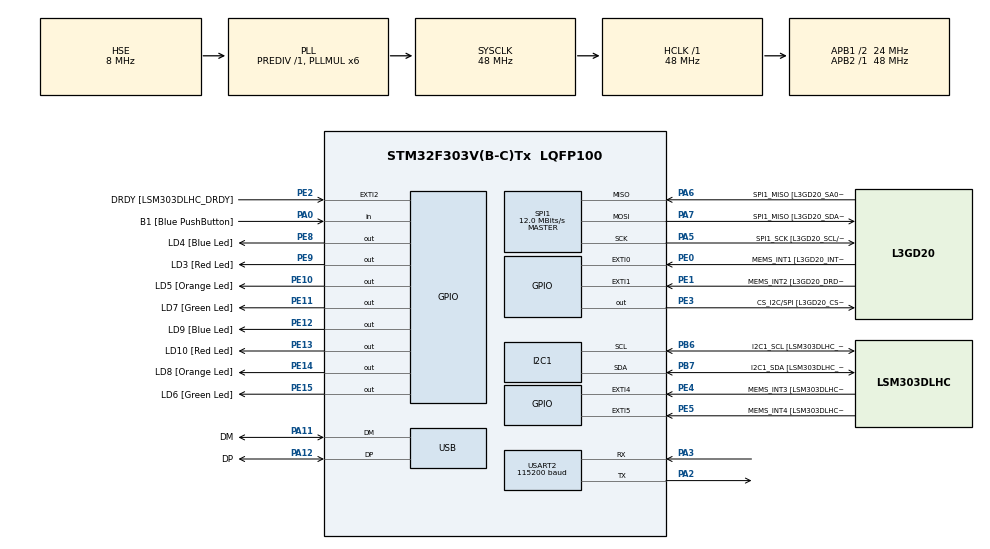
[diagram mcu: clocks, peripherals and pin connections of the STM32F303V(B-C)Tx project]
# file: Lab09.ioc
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I2C1.Timing=0x00201D2B
I2C1.Timing-I2C=0x2000090E
Mcu.Family=STM32F3
Mcu.Name=STM32F303V(B-C)Tx
Mcu.Package=LQFP100
NVIC.PriorityGroup=NVIC_PRIORITYGROUP_0
PA0.GPIO_Label=B1 [Blue PushButton]
PA0.Signal=GPIO_Input
PA11.GPIO_Label=DM
PA11.Mode=Device
PA11.Signal=USB_DM
PA12.GPIO_Label=DP
PA12.Mode=Device
PA12.Signal=USB_DP
PA13.GPIO_Label=SWDIO
PA13.Mode=Serial_Wire
PA13.Signal=SYS_JTMS-SWDIO
PA14.GPIO_Label=SWCLK
PA14.Mode=Serial_Wire
PA14.Signal=SYS_JTCK-SWCLK
PA2.Mode=Asynchronous
PA2.Signal=USART2_TX
PA3.Mode=Asynchronous
PA3.Signal=USART2_RX
PA5.GPIO_Label=SPI1_SCK [L3GD20_SCL/SPC]
PA5.Mode=Full_Duplex_Master
PA5.Signal=SPI1_SCK
PA6.GPIO_Label=SPI1_MISO [L3GD20_SA0/SDO]
PA6.Mode=Full_Duplex_Master
PA6.Signal=SPI1_MISO
PA7.GPIO_Label=SPI1_MISO [L3GD20_SDA/SDI/SDO]
PA7.Mode=Full_Duplex_Master
PA7.Signal=SPI1_MOSI
PB3.GPIO_Label=SWO
PB3.Signal=SYS_JTDO-TRACESWO
PB6.GPIO_Label=I2C1_SCL [LSM303DLHC_SCL]
PB6.GPIO_Pu=GPIO_PULLUP
PB6.Mode=I2C
PB6.Signal=I2C1_SCL
PB7.GPIO_Label=I2C1_SDA [LSM303DLHC_SDA]
PB7.GPIO_Pu=GPIO_PULLUP
PB7.Mode=I2C
PB7.Signal=I2C1_SDA
PC14-OSC32_IN.GPIO_Label=OSC32_IN
PC14-OSC32_IN.Signal=RCC_OSC32_IN
PC15-OSC32_OUT.GPIO_Label=OSC32_OUT
PC15-OSC32_OUT.Signal=RCC_OSC32_OUT
PE0.GPIO_Label=MEMS_INT1 [L3GD20_INT1]
PE0.GPIO_ModeDefaultEXTI=GPIO_MODE_EVT_RISING
PE0.Signal=GPXTI0
PE1.GPIO_Label=MEMS_INT2 [L3GD20_DRDY/INT2]
PE1.GPIO_ModeDefaultEXTI=GPIO_MODE_EVT_RISING
PE1.Signal=GPXTI1
PE10.GPIO_Label=LD5 [Orange Led]
PE10.Signal=GPIO_Output
PE11.GPIO_Label=LD7 [Green Led]
PE11.Signal=GPIO_Output
PE12.GPIO_Label=LD9 [Blue Led]
PE12.Signal=GPIO_Output
PE13.GPIO_Label=LD10 [Red Led]
PE13.Signal=GPIO_Output
PE14.GPIO_Label=LD8 [Orange Led]
PE14.Signal=GPIO_Output
PE15.GPIO_Label=LD6 [Green Led]
PE15.Signal=GPIO_Output
PE2.GPIO_Label=DRDY [LSM303DLHC_DRDY]
PE2.GPIO_ModeDefaultEXTI=GPIO_MODE_EVT_RISING
PE2.Signal=GPXTI2
PE3.GPIO_Label=CS_I2C/SPI [L3GD20_CS_I2C/SPI]
PE3.Signal=GPIO_Output
PE4.GPIO_Label=MEMS_INT3 [LSM303DLHC_INT1]
PE4.GPIO_ModeDefaultEXTI=GPIO_MODE_EVT_RISING
PE4.Signal=GPXTI4
PE5.GPIO_Label=MEMS_INT4 [LSM303DLHC_INT2]
PE5.GPIO_ModeDefaultEXTI=GPIO_MODE_EVT_RISING
PE5.Signal=GPXTI5
PE8.GPIO_Label=LD4 [Blue Led]
PE8.Signal=GPIO_Output
PE9.GPIO_Label=LD3 [Red Led]
PE9.Signal=GPIO_Output
PF0-OSC_IN.GPIO_Label=OSC_IN
PF0-OSC_IN.Mode=HSE-External-Clock-Source
PF0-OSC_IN.Signal=RCC_OSC_IN
PF1-OSC_OUT.GPIO_Label=OSC_OUT
PF1-OSC_OUT.Signal=RCC_OSC_OUT
ProjectManager.HeapSize=0x200
ProjectManager.StackSize=0x400
ProjectManager.TargetToolchain=CMake
RCC.AHBFreq_Value=48000000
RCC.APB1CLKDivider=RCC_HCLK_DIV2
RCC.APB1Freq_Value=24000000
RCC.APB1TimFreq_Value=48000000
RCC.APB2Freq_Value=48000000
RCC.APB2TimFreq_Value=48000000
RCC.CortexFreq_Value=48000000
RCC.HCLKFreq_Value=48000000
RCC.HSE_VALUE=8000000
RCC.HSI_VALUE=8000000
RCC.LSE_VALUE=32768
RCC.PLLMUL=RCC_PLL_MUL6
RCC.SYSCLKFreq_VALUE=48000000
RCC.SYSCLKSourceVirtual=RCC_SYSCLKSOURCE_PLLCLK
RCC.USBFreq_Value=48000000
SPI1.BaudRatePrescaler=SPI_BAUDRATEPRESCALER_4
SPI1.BaudRatePrescaler-Full_Duplex_Master=SPI_BAUDRATEPRESCALER_2
SPI1.CalculateBaudRate=12.0 MBits/s
SPI1.CalculateBaudRate-Full_Duplex_Master=24.0 MBits/s
SPI1.Direction=SPI_DIRECTION_2LINES
SPI1.Mode=SPI_MODE_MASTER
SPI1.Mode-Full_Duplex_Master=SPI_MODE_MASTER
SPI1.VirtualType=VM_MASTER
USART2.BaudRate=115200
USART2.VirtualMode-Asynchronous=VM_ASYNC
board=STM32F3DISCOVERY

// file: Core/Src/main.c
/* USER CODE BEGIN Header */
/**
  ******************************************************************************
  * @file           : main.c
  * @brief          : Main program body
  ******************************************************************************
  * @attention
  *
  * Copyright (c) 2026 STMicroelectronics.
  * All rights reserved.
  *
  * This software is licensed under terms that can be found in the LICENSE file
  * in the root directory of this software component.
  * If no LICENSE file comes with this software, it is provided AS-IS.
  *
  ******************************************************************************
  */
/* USER CODE END Header */
#include "main.h"
#include "stdio.h"
#include "string.h"

// Task 2
typedef struct {
    int16_t acc_raw_x, acc_raw_y, acc_raw_z;
    float acc_mg_x, acc_mg_y, acc_mg_z;
    float acc_offset_x, acc_offset_y, acc_offset_z;
} LSM303_Data;

#define LSM_ADDR 0x33
#define CTRL_REG1_A 0x20
#define CTRL_REG4_A 0x23
#define OUT_X_L_A 0x28

I2C_HandleTypeDef hi2c1;

SPI_HandleTypeDef hspi1;

UART_HandleTypeDef huart2;

PCD_HandleTypeDef hpcd_USB_FS;

void SystemClock_Config(void);
static void MX_GPIO_Init(void);
static void MX_I2C1_Init(void);
static void MX_SPI1_Init(void);
static void MX_USART2_UART_Init(void);
static void MX_USB_PCD_Init(void);

// Task 2
void Init_LSM(void);
void Read_LSM(LSM303_Data *data);
void Offset_LSM(LSM303_Data *data);
void Print_LSM(LSM303_Data *data);

/* USER CODE BEGIN 0 */

// Task 2
void Init_LSM(void) {
    uint8_t settings[2];
    settings[0] = 0x67;
    HAL_I2C_Mem_Write(&hi2c1, LSM_ADDR, CTRL_REG1_A, I2C_MEMADD_SIZE_8BIT, &settings[0], 1, 100);
    settings[0] = 0x00;
    HAL_I2C_Mem_Write(&hi2c1, LSM_ADDR, CTRL_REG4_A, I2C_MEMADD_SIZE_8BIT, &settings[0], 1, 100);
}

void Read_LSM(LSM303_Data *data) {
    uint8_t buffer[6];
    if(HAL_I2C_Mem_Read(&hi2c1, LSM_ADDR, (OUT_X_L_A | 0x80), I2C_MEMADD_SIZE_8BIT, buffer, 6, 100) == HAL_OK) {
        data->acc_raw_x = (int16_t)((buffer[1] << 8) | buffer[0]);
        data->acc_raw_y = (int16_t)((buffer[3] << 8) | buffer[2]);
        data->acc_raw_z = (int16_t)((buffer[5] << 8) | buffer[4]);
        data->acc_mg_x = (data->acc_raw_x * 3.9) - data->acc_offset_x;
        data->acc_mg_y = (data->acc_raw_y * 3.9) - data->acc_offset_y;
        data->acc_mg_z = (data->acc_raw_z * 3.9) - data->acc_offset_z;
    }
}

void Offset_LSM(LSM303_Data *data) {
    float sumX = 0, sumY = 0, sumZ = 0;
    int samples = 20;

    for(int i = 0; i < samples; i++) {
        Read_LSM(data);
        sumX += (data->acc_raw_x * 3.9);
        sumY += (data->acc_raw_y * 3.9);
        sumZ += (data->acc_raw_z * 3.9);
        HAL_Delay(20);
    }

    data->acc_offset_x = sumX / samples;
    data->acc_offset_y = sumY / samples;
    data->acc_offset_z = (sumZ / samples) - 1000.0;
}

void Print_LSM(LSM303_Data *data) {
    char msg[100];
    sprintf(msg, "%.2f, %.2f, %.2f\r\n", data->acc_mg_x, data->acc_mg_y, data->acc_mg_z);
    HAL_UART_Transmit(&huart2, (uint8_t*)msg, strlen(msg), 100);
}
/* USER CODE END 0 */

int main(void)
{

  /* MCU Configuration--------------------------------------------------------*/

  /* Reset of all peripherals, Initializes the Flash interface and the Systick. */
  HAL_Init();

  /* Configure the system clock */
  SystemClock_Config();

  /* Initialize all configured peripherals */
  MX_GPIO_Init();
  MX_I2C1_Init();
  MX_SPI1_Init();
  MX_USART2_UART_Init();
  MX_USB_PCD_Init();

  /* Infinite loop */
  /* USER CODE BEGIN WHILE */

  // Task 1
  // uint8_t who_am_i = 0;
  // char msg[50];
  // HAL_StatusTypeDef ret;
  // ret = HAL_I2C_Mem_Read(&hi2c1, (0x33), 0x0F, I2C_MEMADD_SIZE_8BIT, &who_am_i, 1, 100);

  // Task 2
  HAL_Init();
  SystemClock_Config();
  MX_GPIO_Init();
  MX_I2C1_Init();
  MX_USART2_UART_Init();
  LSM303_Data myLSM = {0};

  HAL_GPIO_WritePin(GPIOE, CS_I2C_SPI_Pin, GPIO_PIN_SET);
  HAL_Delay(100);

  Init_LSM();
  Offset_LSM(&myLSM);
  while (1)
  {
    /* USER CODE END WHILE */

    // Task 1
    // if (ret == HAL_OK) {
    //   sprintf(msg, "LSM303AGR WHO_AM_I: 0x%02X\r\n", who_am_i);
    //   HAL_UART_Transmit(&huart2, (uint8_t*)msg, strlen(msg), 100);

    //   if (who_am_i == 0x33) {
    //       HAL_UART_Transmit(&huart2, (uint8_t*)"LSM303AGR Detected Successfully!\r\n", 34, 100);
    //   } else {
    //       HAL_UART_Transmit(&huart2, (uint8_t*)"Unexpected ID Received.\r\n", 25, 100);
    //   }
    // } else {
    //   HAL_UART_Transmit(&huart2, (uint8_t*)"I2C Read Error!\r\n", 17, 100);
    // }

    // Task 2
    Read_LSM(&myLSM);
    Print_LSM(&myLSM);
    HAL_Delay(100);
  }
}

void SystemClock_Config(void)
{
  RCC_OscInitTypeDef RCC_OscInitStruct = {0};
  RCC_ClkInitTypeDef RCC_ClkInitStruct = {0};
  RCC_PeriphCLKInitTypeDef PeriphClkInit = {0};

  /** Initializes the RCC Oscillators according to the specified parameters
  * in the RCC_OscInitTypeDef structure.
  */
  RCC_OscInitStruct.OscillatorType = RCC_OSCILLATORTYPE_HSI|RCC_OSCILLATORTYPE_HSE;
  RCC_OscInitStruct.HSEState = RCC_HSE_BYPASS;
  RCC_OscInitStruct.HSEPredivValue = RCC_HSE_PREDIV_DIV1;
  RCC_OscInitStruct.HSIState = RCC_HSI_ON;
  RCC_OscInitStruct.HSICalibrationValue = RCC_HSICALIBRATION_DEFAULT;
  RCC_OscInitStruct.PLL.PLLState = RCC_PLL_ON;
  RCC_OscInitStruct.PLL.PLLSource = RCC_PLLSOURCE_HSE;
  RCC_OscInitStruct.PLL.PLLMUL = RCC_PLL_MUL6;
  if (HAL_RCC_OscConfig(&RCC_OscInitStruct) != HAL_OK)
  {
    Error_Handler();
  }

  /** Initializes the CPU, AHB and APB buses clocks
  */
  RCC_ClkInitStruct.ClockType = RCC_CLOCKTYPE_HCLK|RCC_CLOCKTYPE_SYSCLK
                              |RCC_CLOCKTYPE_PCLK1|RCC_CLOCKTYPE_PCLK2;
  RCC_ClkInitStruct.SYSCLKSource = RCC_SYSCLKSOURCE_PLLCLK;
  RCC_ClkInitStruct.AHBCLKDivider = RCC_SYSCLK_DIV1;
  RCC_ClkInitStruct.APB1CLKDivider = RCC_HCLK_DIV2;
  RCC_ClkInitStruct.APB2CLKDivider = RCC_HCLK_DIV1;

  if (HAL_RCC_ClockConfig(&RCC_ClkInitStruct, FLASH_LATENCY_1) != HAL_OK)
  {
    Error_Handler();
  }
  PeriphClkInit.PeriphClockSelection = RCC_PERIPHCLK_USB|RCC_PERIPHCLK_USART2
                              |RCC_PERIPHCLK_I2C1;
  PeriphClkInit.Usart2ClockSelection = RCC_USART2CLKSOURCE_PCLK1;
  PeriphClkInit.I2c1ClockSelection = RCC_I2C1CLKSOURCE_HSI;
  PeriphClkInit.USBClockSelection = RCC_USBCLKSOURCE_PLL;
  if (HAL_RCCEx_PeriphCLKConfig(&PeriphClkInit) != HAL_OK)
  {
    Error_Handler();
  }
}

static void MX_I2C1_Init(void)
{

  hi2c1.Instance = I2C1;
  hi2c1.Init.Timing = 0x00201D2B;
  hi2c1.Init.OwnAddress1 = 0;
  hi2c1.Init.AddressingMode = I2C_ADDRESSINGMODE_7BIT;
  hi2c1.Init.DualAddressMode = I2C_DUALADDRESS_DISABLE;
  hi2c1.Init.OwnAddress2 = 0;
  hi2c1.Init.OwnAddress2Masks = I2C_OA2_NOMASK;
  hi2c1.Init.GeneralCallMode = I2C_GENERALCALL_DISABLE;
  hi2c1.Init.NoStretchMode = I2C_NOSTRETCH_DISABLE;
  if (HAL_I2C_Init(&hi2c1) != HAL_OK)
  {
    Error_Handler();
  }

  /** Configure Analogue filter
  */
  if (HAL_I2CEx_ConfigAnalogFilter(&hi2c1, I2C_ANALOGFILTER_ENABLE) != HAL_OK)
  {
    Error_Handler();
  }

  /** Configure Digital filter
  */
  if (HAL_I2CEx_ConfigDigitalFilter(&hi2c1, 0) != HAL_OK)
  {
    Error_Handler();
  }

}

static void MX_SPI1_Init(void)
{

  /* SPI1 parameter configuration*/
  hspi1.Instance = SPI1;
  hspi1.Init.Mode = SPI_MODE_MASTER;
  hspi1.Init.Direction = SPI_DIRECTION_2LINES;
  hspi1.Init.DataSize = SPI_DATASIZE_4BIT;
  hspi1.Init.CLKPolarity = SPI_POLARITY_LOW;
  hspi1.Init.CLKPhase = SPI_PHASE_1EDGE;
  hspi1.Init.NSS = SPI_NSS_SOFT;
  hspi1.Init.BaudRatePrescaler = SPI_BAUDRATEPRESCALER_4;
  hspi1.Init.FirstBit = SPI_FIRSTBIT_MSB;
  hspi1.Init.TIMode = SPI_TIMODE_DISABLE;
  hspi1.Init.CRCCalculation = SPI_CRCCALCULATION_DISABLE;
  hspi1.Init.CRCPolynomial = 7;
  hspi1.Init.CRCLength = SPI_CRC_LENGTH_DATASIZE;
  hspi1.Init.NSSPMode = SPI_NSS_PULSE_ENABLE;
  if (HAL_SPI_Init(&hspi1) != HAL_OK)
  {
    Error_Handler();
  }

}

static void MX_USART2_UART_Init(void)
{

  huart2.Instance = USART2;
  huart2.Init.BaudRate = 115200;
  huart2.Init.WordLength = UART_WORDLENGTH_8B;
  huart2.Init.StopBits = UART_STOPBITS_1;
  huart2.Init.Parity = UART_PARITY_NONE;
  huart2.Init.Mode = UART_MODE_TX_RX;
  huart2.Init.HwFlowCtl = UART_HWCONTROL_NONE;
  huart2.Init.OverSampling = UART_OVERSAMPLING_16;
  huart2.Init.OneBitSampling = UART_ONE_BIT_SAMPLE_DISABLE;
  huart2.AdvancedInit.AdvFeatureInit = UART_ADVFEATURE_NO_INIT;
  if (HAL_UART_Init(&huart2) != HAL_OK)
  {
    Error_Handler();
  }

}

static void MX_USB_PCD_Init(void)
{

  hpcd_USB_FS.Instance = USB;
  hpcd_USB_FS.Init.dev_endpoints = 8;
  hpcd_USB_FS.Init.speed = PCD_SPEED_FULL;
  hpcd_USB_FS.Init.phy_itface = PCD_PHY_EMBEDDED;
  hpcd_USB_FS.Init.low_power_enable = DISABLE;
  hpcd_USB_FS.Init.battery_charging_enable = DISABLE;
  if (HAL_PCD_Init(&hpcd_USB_FS) != HAL_OK)
  {
    Error_Handler();
  }

}

static void MX_GPIO_Init(void)
{
  GPIO_InitTypeDef GPIO_InitStruct = {0};

  /* GPIO Ports Clock Enable */
  __HAL_RCC_GPIOE_CLK_ENABLE();
  __HAL_RCC_GPIOC_CLK_ENABLE();
  __HAL_RCC_GPIOF_CLK_ENABLE();
  __HAL_RCC_GPIOA_CLK_ENABLE();
  __HAL_RCC_GPIOB_CLK_ENABLE();

  /*Configure GPIO pin Output Level */
  HAL_GPIO_WritePin(GPIOE, CS_I2C_SPI_Pin|LD4_Pin|LD3_Pin|LD5_Pin
                          |LD7_Pin|LD9_Pin|LD10_Pin|LD8_Pin
                          |LD6_Pin, GPIO_PIN_RESET);

  /*Configure GPIO pins : DRDY_Pin MEMS_INT3_Pin MEMS_INT4_Pin MEMS_INT1_Pin
                           MEMS_INT2_Pin */
  GPIO_InitStruct.Pin = DRDY_Pin|MEMS_INT3_Pin|MEMS_INT4_Pin|MEMS_INT1_Pin
                          |MEMS_INT2_Pin;
  GPIO_InitStruct.Mode = GPIO_MODE_EVT_RISING;
  GPIO_InitStruct.Pull = GPIO_NOPULL;
  HAL_GPIO_Init(GPIOE, &GPIO_InitStruct);

  /*Configure GPIO pins : CS_I2C_SPI_Pin LD4_Pin LD3_Pin LD5_Pin
                           LD7_Pin LD9_Pin LD10_Pin LD8_Pin
                           LD6_Pin */
  GPIO_InitStruct.Pin = CS_I2C_SPI_Pin|LD4_Pin|LD3_Pin|LD5_Pin
                          |LD7_Pin|LD9_Pin|LD10_Pin|LD8_Pin
                          |LD6_Pin;
  GPIO_InitStruct.Mode = GPIO_MODE_OUTPUT_PP;
  GPIO_InitStruct.Pull = GPIO_NOPULL;
  GPIO_InitStruct.Speed = GPIO_SPEED_FREQ_LOW;
  HAL_GPIO_Init(GPIOE, &GPIO_InitStruct);

  /*Configure GPIO pin : B1_Pin */
  GPIO_InitStruct.Pin = B1_Pin;
  GPIO_InitStruct.Mode = GPIO_MODE_INPUT;
  GPIO_InitStruct.Pull = GPIO_NOPULL;
  HAL_GPIO_Init(B1_GPIO_Port, &GPIO_InitStruct);

}

void Error_Handler(void)
{
  __disable_irq();
  while (1)
  {
  }
}
